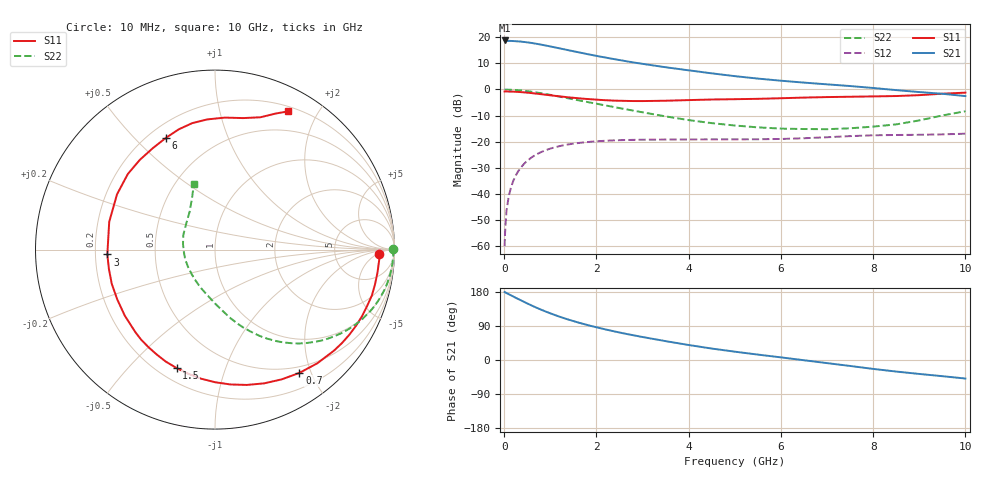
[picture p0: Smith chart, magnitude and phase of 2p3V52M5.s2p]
! (c) 2009  Infineon Technologies AG, Munich
! Infineon Technologies  Discrete & RF Semiconductors
! BFP420
! VCE =  3.5 V,  IC =  2.5 mA
! Common Emitter S-Parameters:  Nov 2009
# GHz  S  MA  R  50
!  f  S11  S21  S12  S22
! GHz  MAG  ANG  MAG  ANG  MAG  ANG  MAG  ANG
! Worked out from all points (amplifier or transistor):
!   46 points, 10 MHz to 10 GHz, reference 50 ohm
!   highest |S21| = 18.8 dB at 10 MHz (marker M1)
!   |S21| within 3 dB of that: start of sweep to 1.195 GHz
!   unconditionally stable (mu >= 1): 3.728 GHz to end of sweep
!   at 300 MHz: K = 0.06, MSG = 24.9 dB, |S12| = -31.4 dB
!   at 1.7 GHz: K = 0.39, MSG = 17.1 dB, |S12| = -20.3 dB
!   at 10 GHz: K = 1.19, MAG = 4.6 dB, |S12| = -16.9 dB
!   lowest NFmin = 0.55 dB at 900 MHz
!   S11 on the Smith chart (normalised r, x): 10 MHz: 21, -7; 700 MHz: 0.41, -1.83; 1.5 GHz: 0.27, -0.69; 3 GHz: 0.25, -0.02; 6 GHz: 0.27, +0.62; 10 GHz: 0.26, +1.63
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0.01  0.9159 -1.6  8.69 179.2  0.001 87.0  0.992 0.1
0.02  0.9167 -1.6  8.456 178.9  0.0018 81.3  0.9929 -0.8
0.05  0.9165 -3.8  8.484 176.7  0.0047 84.7  0.9934 -2.1
0.15  0.9123 -12.2  8.499 170.6  0.0135 82.3  0.9882 -6.7
0.3  0.8994 -24.4  8.349 161.2  0.0268 76.1  0.9703 -13.3
0.45  0.8785 -36.3  8.098 152.3  0.0392 69.6  0.9418 -19.7
0.6  0.8522 -48.0  7.766 143.6  0.0504 63.4  0.9051 -25.7
0.7  0.8325 -55.6  7.513 138.1  0.0571 59.5  0.8775 -29.4
1  0.7745 -76.8  6.684 123.2  0.0738 49.1  0.7893 -39.6
1.2  0.7389 -90.0  6.139 114.3  0.0823 43.1  0.7304 -45.4
1.5  0.6935 -108.0  5.408 102.8  0.0919 35.5  0.6489 -53.0
1.7  0.6685 -119.1  4.98 95.8  0.0966 31.1  0.5998 -57.4
2.2  0.623 -143.8  4.084 80.6  0.1044 22.2  0.4949 -66.8
2.6  0.606 -161.7  3.537 70.0  0.1076 16.4  0.4244 -73.7
3  0.6005 -177.4  3.099 60.7  0.1092 11.8  0.3661 -80.1
3.5  0.6093 165.3  2.668 49.8  0.11 7.2  0.3056 -89.0
4.5  0.643 139.0  2.04 30.2  0.1109 1.0  0.227 -110.5
5.5  0.6628 121.6  1.618 14.3  0.1114 -2.5  0.1883 -134.0
6  0.68 113.7  1.473 6.9  0.1129 -3.4  0.1784 -147.6
7  0.7159 100.2  1.255 -8.2  0.1218 -5.8  0.1738 -175.1
8.5  0.7494 77.9  0.973 -30.5  0.1346 -14.9  0.2148 138.5
10  0.8704 62.2  0.748 -48.9  0.1425 -20.8  0.3837 107.9
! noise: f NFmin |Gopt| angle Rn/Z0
0.9  0.55  0.41  33  0.2
1.8  1.02  0.24  78  0.16
2.4  1.11  0.26  103  0.15
3  1.28  0.27  140  0.11
4  1.5  0.34  -163  0.1
5  1.85  0.4  -130  0.26
6  2.56  0.5  -109  0.35
